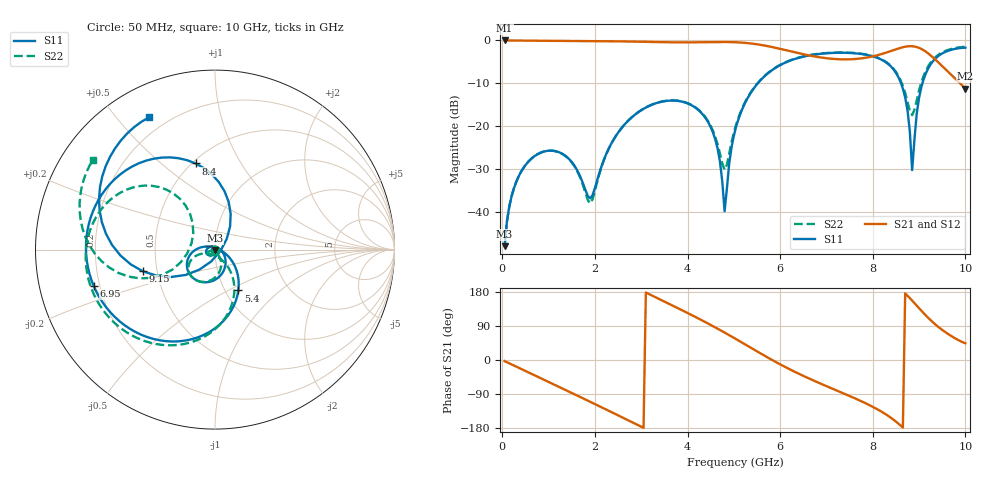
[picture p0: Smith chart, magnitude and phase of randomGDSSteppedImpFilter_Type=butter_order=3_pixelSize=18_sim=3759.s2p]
! freq	dB(S11)	phase(S11)	dB(S12)	phase(S12)
!  dB(S21)	phase(S21)	dB(S22)	phase(S22)
!S-par simulation data
#  GHz  S  DB  R 50
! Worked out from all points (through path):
!   200 points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, 50 MHz to 10 GHz, reference 50 ohm
!   highest |S21| = -0.01 dB at 50 MHz (marker M1); lowest = -11.2 dB at 10 GHz (marker M2)
!   group delay of S21, straight-line fit = 181 ps
!   lowest |S11| = -47.9 dB at 50 MHz (marker M3), VSWR 1.01, Z = 50 - j0.404 ohm
!   |S11| at or under -10 dB: start of sweep to 5.516 GHz; 8.611 GHz to 9.072 GHz (460.8 MHz wide, 5.21 % of centre)
!   |S22| runs from -47.8 to -1.5 dB; largest |S21 - S12| = 0
!   S11 on the Smith chart (normalised r, x): 50 MHz: 1.00, -0.01; 5.4 GHz: 1.15, -0.56; 6.95 GHz: 0.18, -0.14; 8.4 GHz: 0.52, +0.66; 9.15 GHz: 0.42, -0.12; 10 GHz: 0.13, +0.61
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0.05  -47.86 -87.6  -0.01 -3.0  -0.01 -3.0  -47.85 -87.1
0.25  -34.42 -104.8  -0.02 -14.6  -0.02 -14.6  -34.41 -102.4
0.7  -26.89 -134.9  -0.06 -40.6  -0.06 -40.6  -26.88 -127.5
1.75  -33.47 128.4  -0.12 -101.6  -0.12 -101.6  -33.91 -156.4
1.9  -36.74 70.2  -0.13 -110.4  -0.13 -110.4  -37.89 -112.1
2.65  -19.44 -57.5  -0.24 -155.0  -0.24 -155.0  -19.43 -72.4
3.4  -14.35 -108.1  -0.41 160.2  -0.41 160.2  -14.32 -110.6
4.45  -19.11 -178.8  -0.38 95.8  -0.38 95.8  -18.88 -161.7
4.65  -25.19 162.2  -0.36 82.6  -0.36 82.6  -24.21 -159.4
4.8  -39.74 86.3  -0.36 72.5  -0.36 72.5  -30.10 -112.1
5.05  -20.04 -30.7  -0.43 55.0  -0.43 55.0  -19.56 -53.1
5.4  -11.64 -60.2  -0.75 30.0  -0.75 30.0  -11.52 -66.2
6.7  -3.36 -149.0  -3.64 -53.0  -3.64 -53.0  -3.30 -140.4
6.95  -3.03 -163.4  -4.07 -66.4  -4.07 -66.4  -2.97 -152.6
8.35  -5.64 107.4  -2.62 -148.9  -2.62 -148.9  -5.53 137.6
8.4  -6.15 102.7  -2.43 -153.2  -2.43 -153.2  -6.02 134.7
8.7  -13.26 66.3  -1.46 175.9  -1.46 175.9  -12.24 124.9
8.85  -30.17 -17.0  -1.35 156.9  -1.35 156.9  -17.37 165.0
8.95  -16.92 -128.2  -1.54 143.5  -1.54 143.5  -13.83 -159.7
9.15  -7.56 -163.2  -2.64 117.0  -2.64 117.0  -6.94 -159.1
9.5  -3.02 156.2  -5.97 79.4  -5.97 79.4  -2.78 174.4
10  -1.69 116.4  -11.23 44.2  -11.23 44.2  -1.48 143.8
